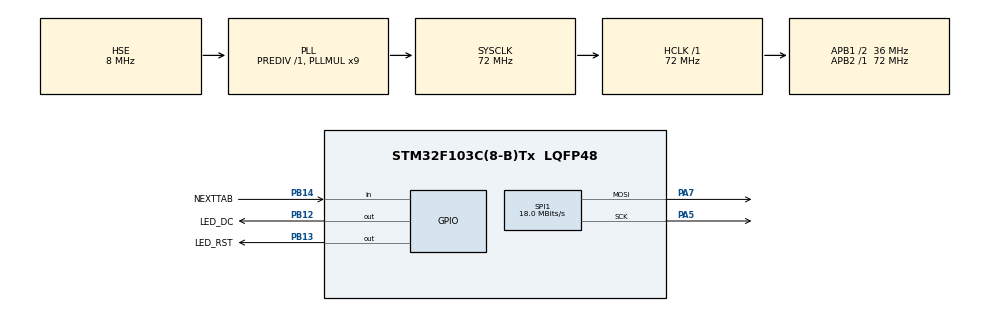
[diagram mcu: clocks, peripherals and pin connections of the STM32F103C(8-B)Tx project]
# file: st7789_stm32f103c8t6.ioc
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Dma.Request0=SPI1_TX
Dma.SPI1_TX.0.Direction=DMA_MEMORY_TO_PERIPH
Dma.SPI1_TX.0.Instance=DMA1_Channel3
Dma.SPI1_TX.0.MemDataAlignment=DMA_MDATAALIGN_BYTE
Dma.SPI1_TX.0.MemInc=DMA_MINC_ENABLE
Dma.SPI1_TX.0.Mode=DMA_NORMAL
Dma.SPI1_TX.0.PeriphDataAlignment=DMA_PDATAALIGN_BYTE
Dma.SPI1_TX.0.PeriphInc=DMA_PINC_DISABLE
Dma.SPI1_TX.0.Priority=DMA_PRIORITY_LOW
Mcu.Family=STM32F1
Mcu.Name=STM32F103C(8-B)Tx
Mcu.Package=LQFP48
NVIC.DMA1_Channel3_IRQn=true\:0\:0\:false\:false\:true\:false\:true\:true
NVIC.PriorityGroup=NVIC_PRIORITYGROUP_4
NVIC.TIM1_UP_IRQn=true\:0\:0\:false\:false\:true\:true\:true\:true
PA13.Mode=Serial_Wire
PA13.Signal=SYS_JTMS-SWDIO
PA14.Mode=Serial_Wire
PA14.Signal=SYS_JTCK-SWCLK
PA5.Mode=TX_Only_Simplex_Unidirect_Master
PA5.Signal=SPI1_SCK
PA7.Mode=TX_Only_Simplex_Unidirect_Master
PA7.Signal=SPI1_MOSI
PB12.GPIO_Label=LED_DC
PB12.GPIO_Speed=GPIO_SPEED_FREQ_HIGH
PB12.Signal=GPIO_Output
PB13.GPIO_Label=LED_RST
PB13.GPIO_Speed=GPIO_SPEED_FREQ_HIGH
PB13.Signal=GPIO_Output
PB14.GPIO_Label=NEXTTAB
PB14.GPIO_PuPd=GPIO_PULLUP
PB14.Signal=GPIO_Input
PD0-OSC_IN.Mode=HSE-External-Oscillator
PD0-OSC_IN.Signal=RCC_OSC_IN
PD1-OSC_OUT.Mode=HSE-External-Oscillator
PD1-OSC_OUT.Signal=RCC_OSC_OUT
ProjectManager.HeapSize=0x200
ProjectManager.StackSize=0x400
ProjectManager.TargetToolchain=Makefile
RCC.AHBFreq_Value=72000000
RCC.APB1CLKDivider=RCC_HCLK_DIV2
RCC.APB1Freq_Value=36000000
RCC.APB1TimFreq_Value=72000000
RCC.APB2Freq_Value=72000000
RCC.APB2TimFreq_Value=72000000
RCC.HCLKFreq_Value=72000000
RCC.PLLMUL=RCC_PLL_MUL9
RCC.PLLSourceVirtual=RCC_PLLSOURCE_HSE
RCC.SYSCLKFreq_VALUE=72000000
RCC.SYSCLKSource=RCC_SYSCLKSOURCE_PLLCLK
RCC.USBFreq_Value=72000000
SPI1.BaudRatePrescaler=SPI_BAUDRATEPRESCALER_4
SPI1.CLKPolarity=SPI_POLARITY_HIGH
SPI1.CalculateBaudRate=18.0 MBits/s
SPI1.Direction=SPI_DIRECTION_2LINES
SPI1.Mode=SPI_MODE_MASTER
SPI1.VirtualType=VM_MASTER
TIM1.Period=999
TIM1.Prescaler=7199
VP_TIM1_VS_ClockSourceINT.Mode=Internal
board=custom

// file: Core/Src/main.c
/* USER CODE BEGIN Header */
/**
 ******************************************************************************
 * @file           : main.c
 * @brief          : Main program body
 ******************************************************************************
 * @attention
 *
 * Copyright (c) 2026 STMicroelectronics.
 * All rights reserved.
 *
 * This software is licensed under terms that can be found in the LICENSE file
 * in the root directory of this software component.
 * If no LICENSE file comes with this software, it is provided AS-IS.
 *
 ******************************************************************************
 */
/* USER CODE END Header */
#include "main.h"

/* USER CODE BEGIN Includes */
#include "cmsis_gcc.h"
#include "st7789.h"

#include "displaytabs.h"
#include "stm32f1xx_hal_gpio.h"
#include "stm32f1xx_hal_tim.h"
/* USER CODE END Includes */

SPI_HandleTypeDef hspi1;
DMA_HandleTypeDef hdma_spi1_tx;

TIM_HandleTypeDef htim1;

/* USER CODE BEGIN PV */
volatile static uint16_t timer_counter = 0;
volatile static _Bool enable_counter = 0;
/* USER CODE END PV */

void SystemClock_Config(void);
static void MX_GPIO_Init(void);
static void MX_DMA_Init(void);
static void MX_SPI1_Init(void);
static void MX_TIM1_Init(void);

int main(void)
{

  /* MCU Configuration--------------------------------------------------------*/

  /* Reset of all peripherals, Initializes the Flash interface and the Systick.
   */
  HAL_Init();

  /* Configure the system clock */
  SystemClock_Config();

  /* Initialize all configured peripherals */
  MX_GPIO_Init();
  MX_DMA_Init();
  MX_SPI1_Init();
  MX_TIM1_Init();
  /* USER CODE BEGIN 2 */
  uint16_t err = HAL_TIM_Base_Start_IT(&htim1);
  if (err != HAL_OK)
    Error_Handler();

  ST7789_Init();

  static const char *tab0[] = {"TEST PAGE -----------", "",
                               "It's just a test page :)", NULL};

  static const char *tab1[] = {"ALGEBRA -------------", "", "D = b^2 - 4ac",
                               "x = (-b +/- sqrt(D)) / 2a", NULL};

  static const char *tab2[] = {"TIGONOMETRIA --------",

                               "",
                               "sin = protiv/katet",
                               "cos = pril/katet",
                               "tan = protiv/pril",
                               "ctan = pril/protiv",
                               "tan^2 + 1 = 1/cos^2",
                               NULL};

  static const char **tabs_str[] = {tab0, tab1, tab2};

  static Tabs_t tabs = {tabs_str, 3, 0};

  tabs_draw(&tabs);
  /* USER CODE END 2 */

  /* Infinite loop */
  /* USER CODE BEGIN WHILE */
  while (1)
  {
    if (HAL_GPIO_ReadPin(NEXTTAB_GPIO_Port, NEXTTAB_Pin) == GPIO_PIN_RESET)
    {
      tabs_next(&tabs);
      tabs_draw(&tabs);

      while (HAL_GPIO_ReadPin(NEXTTAB_GPIO_Port, NEXTTAB_Pin) == GPIO_PIN_RESET)
      {
        timer_counter = 0;
        enable_counter = 1;
        while (timer_counter < 1)
          __WFI();
        enable_counter = 0;
        timer_counter = 0;
      }
    }

    timer_counter = 0;
    enable_counter = 1;
    while (timer_counter < 1)
      __WFI();
    enable_counter = 0;
    timer_counter = 0;
    /* USER CODE END WHILE */

  }
}

void SystemClock_Config(void)
{
  RCC_OscInitTypeDef RCC_OscInitStruct = {0};
  RCC_ClkInitTypeDef RCC_ClkInitStruct = {0};

  /** Initializes the RCC Oscillators according to the specified parameters
   * in the RCC_OscInitTypeDef structure.
   */
  RCC_OscInitStruct.OscillatorType = RCC_OSCILLATORTYPE_HSE;
  RCC_OscInitStruct.HSEState = RCC_HSE_ON;
  RCC_OscInitStruct.HSEPredivValue = RCC_HSE_PREDIV_DIV1;
  RCC_OscInitStruct.HSIState = RCC_HSI_ON;
  RCC_OscInitStruct.PLL.PLLState = RCC_PLL_ON;
  RCC_OscInitStruct.PLL.PLLSource = RCC_PLLSOURCE_HSE;
  RCC_OscInitStruct.PLL.PLLMUL = RCC_PLL_MUL9;
  if (HAL_RCC_OscConfig(&RCC_OscInitStruct) != HAL_OK)
  {
    Error_Handler();
  }

  /** Initializes the CPU, AHB and APB buses clocks
   */
  RCC_ClkInitStruct.ClockType = RCC_CLOCKTYPE_HCLK | RCC_CLOCKTYPE_SYSCLK |
                                RCC_CLOCKTYPE_PCLK1 | RCC_CLOCKTYPE_PCLK2;
  RCC_ClkInitStruct.SYSCLKSource = RCC_SYSCLKSOURCE_PLLCLK;
  RCC_ClkInitStruct.AHBCLKDivider = RCC_SYSCLK_DIV1;
  RCC_ClkInitStruct.APB1CLKDivider = RCC_HCLK_DIV2;
  RCC_ClkInitStruct.APB2CLKDivider = RCC_HCLK_DIV1;

  if (HAL_RCC_ClockConfig(&RCC_ClkInitStruct, FLASH_LATENCY_2) != HAL_OK)
  {
    Error_Handler();
  }
}

static void MX_SPI1_Init(void)
{

  /* SPI1 parameter configuration*/
  hspi1.Instance = SPI1;
  hspi1.Init.Mode = SPI_MODE_MASTER;
  hspi1.Init.Direction = SPI_DIRECTION_2LINES;
  hspi1.Init.DataSize = SPI_DATASIZE_8BIT;
  hspi1.Init.CLKPolarity = SPI_POLARITY_HIGH;
  hspi1.Init.CLKPhase = SPI_PHASE_2EDGE;
  hspi1.Init.NSS = SPI_NSS_SOFT;
  hspi1.Init.BaudRatePrescaler = SPI_BAUDRATEPRESCALER_4;
  hspi1.Init.FirstBit = SPI_FIRSTBIT_MSB;
  hspi1.Init.TIMode = SPI_TIMODE_DISABLE;
  hspi1.Init.CRCCalculation = SPI_CRCCALCULATION_DISABLE;
  hspi1.Init.CRCPolynomial = 10;
  if (HAL_SPI_Init(&hspi1) != HAL_OK)
  {
    Error_Handler();
  }
}

static void MX_TIM1_Init(void)
{

  TIM_ClockConfigTypeDef sClockSourceConfig = {0};
  TIM_MasterConfigTypeDef sMasterConfig = {0};

  htim1.Instance = TIM1;
  htim1.Init.Prescaler = 7199;
  htim1.Init.CounterMode = TIM_COUNTERMODE_UP;
  htim1.Init.Period = 999;
  htim1.Init.ClockDivision = TIM_CLOCKDIVISION_DIV1;
  htim1.Init.RepetitionCounter = 0;
  htim1.Init.AutoReloadPreload = TIM_AUTORELOAD_PRELOAD_DISABLE;
  if (HAL_TIM_Base_Init(&htim1) != HAL_OK)
  {
    Error_Handler();
  }
  sClockSourceConfig.ClockSource = TIM_CLOCKSOURCE_INTERNAL;
  if (HAL_TIM_ConfigClockSource(&htim1, &sClockSourceConfig) != HAL_OK)
  {
    Error_Handler();
  }
  sMasterConfig.MasterOutputTrigger = TIM_TRGO_RESET;
  sMasterConfig.MasterSlaveMode = TIM_MASTERSLAVEMODE_DISABLE;
  if (HAL_TIMEx_MasterConfigSynchronization(&htim1, &sMasterConfig) != HAL_OK)
  {
    Error_Handler();
  }
}

static void MX_DMA_Init(void)
{

  /* DMA controller clock enable */
  __HAL_RCC_DMA1_CLK_ENABLE();

  /* DMA interrupt init */
  /* DMA1_Channel3_IRQn interrupt configuration */
  HAL_NVIC_SetPriority(DMA1_Channel3_IRQn, 0, 0);
  HAL_NVIC_EnableIRQ(DMA1_Channel3_IRQn);
}

static void MX_GPIO_Init(void)
{
  GPIO_InitTypeDef GPIO_InitStruct = {0};

  /* GPIO Ports Clock Enable */
  __HAL_RCC_GPIOD_CLK_ENABLE();
  __HAL_RCC_GPIOA_CLK_ENABLE();
  __HAL_RCC_GPIOB_CLK_ENABLE();

  /*Configure GPIO pin Output Level */
  HAL_GPIO_WritePin(GPIOB, LED_DC_Pin | LED_RST_Pin, GPIO_PIN_RESET);

  /*Configure GPIO pins : LED_DC_Pin LED_RST_Pin */
  GPIO_InitStruct.Pin = LED_DC_Pin | LED_RST_Pin;
  GPIO_InitStruct.Mode = GPIO_MODE_OUTPUT_PP;
  GPIO_InitStruct.Pull = GPIO_NOPULL;
  GPIO_InitStruct.Speed = GPIO_SPEED_FREQ_HIGH;
  HAL_GPIO_Init(GPIOB, &GPIO_InitStruct);

  /*Configure GPIO pin : NEXTTAB_Pin */
  GPIO_InitStruct.Pin = NEXTTAB_Pin;
  GPIO_InitStruct.Mode = GPIO_MODE_INPUT;
  GPIO_InitStruct.Pull = GPIO_PULLUP;
  HAL_GPIO_Init(NEXTTAB_GPIO_Port, &GPIO_InitStruct);

}

/* USER CODE BEGIN 4 */
void HAL_TIM_PeriodElapsedCallback(TIM_HandleTypeDef *htim)
{
  if (htim == &htim1 && enable_counter)
  {
    timer_counter++;
    if (timer_counter > 0xFFFE)
    {
      timer_counter = 0;
    }
  }
}
/* USER CODE END 4 */

void Error_Handler(void)
{
  __disable_irq();
  while (1)
  {
  }
}
#ifdef USE_FULL_ASSERT
/**
 * @brief  Reports the name of the source file and the source line number
 *         where the assert_param error has occurred.
 * @param  file: pointer to the source file name
 * @param  line: assert_param error line source number
 * @retval None
 */
void assert_failed(uint8_t *file, uint32_t line)
{
  /* USER CODE BEGIN 6 */
  /* User can add his own implementation to report the file name and line
     number, ex: printf("Wrong parameters value: file %s on line %d\r\n", file,
     line) */
  /* USER CODE END 6 */
}
#endif /* USE_FULL_ASSERT */
